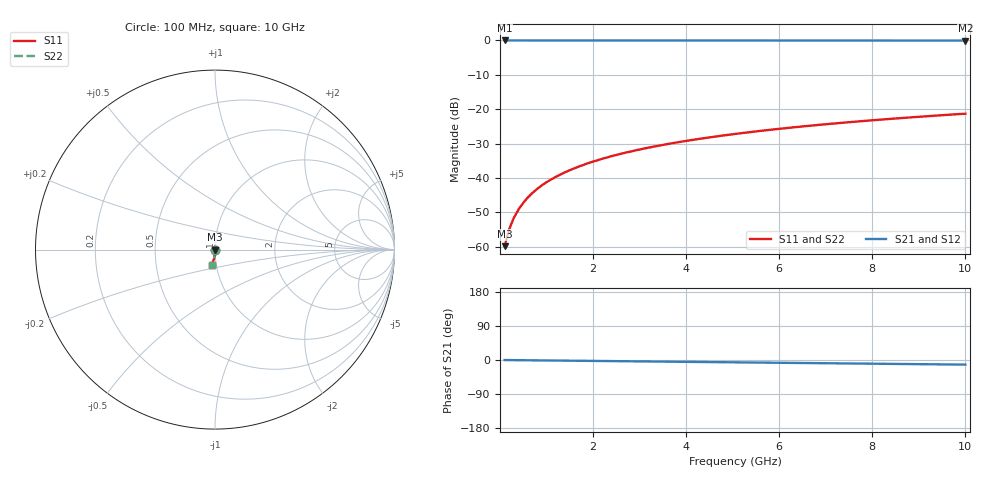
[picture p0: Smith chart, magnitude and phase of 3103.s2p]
# Hz S RI R 50.00
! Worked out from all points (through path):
!   100 points, 100 MHz to 10 GHz, reference 50 ohm
!   highest |S21| = 0.00 dB at 100 MHz (marker M1); lowest = 0.0 dB at 10 GHz (marker M2)
!   group delay of S21, straight-line fit = 3.39 ps
!   lowest |S11| = -59.8 dB at 100 MHz (marker M3), VSWR 1.00, Z = 50.1 - j0.0868 ohm
!   |S11| at or under -10 dB: start of sweep to end of sweep
!   |S22| runs from -59.8 to -21.3 dB; largest |S21 - S12| = 0
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1e8  0.000542 -0.000867  0.9994 -0.00212  0.9994 -0.00212  0.000542 -0.000867
2e8  0.000539 -0.00173  0.9994 -0.00425  0.9994 -0.00425  0.000539 -0.00173
3e8  0.000531 -0.0026  0.9994 -0.00637  0.9994 -0.00637  0.000531 -0.0026
4e8  0.000519 -0.00347  0.9994 -0.00849  0.9994 -0.00849  0.000519 -0.00347
5e8  0.000503 -0.00434  0.9994 -0.0106  0.9994 -0.0106  0.000503 -0.00434
6e8  0.000483 -0.0052  0.9993 -0.0127  0.9993 -0.0127  0.000483 -0.0052
7e8  0.000459 -0.00607  0.9993 -0.0149  0.9993 -0.0149  0.000459 -0.00607
8e8  0.000431 -0.00694  0.9993 -0.017  0.9993 -0.017  0.000431 -0.00694
9e8  0.0004 -0.0078  0.9992 -0.0191  0.9992 -0.0191  0.0004 -0.0078
1.1e9  0.000326 -0.00954  0.9991 -0.0234  0.9991 -0.0234  0.000326 -0.00954
1.4e9  0.000187 -0.0121  0.9989 -0.0297  0.9989 -0.0297  0.000187 -0.0121
1.8e9  -5.05e-05 -0.0156  0.9985 -0.0382  0.9985 -0.0382  -5.05e-05 -0.0156
2.1e9  -0.000267 -0.0182  0.9982 -0.0446  0.9982 -0.0446  -0.000267 -0.0182
2.5e9  -0.000608 -0.0217  0.9977 -0.0531  0.9977 -0.0531  -0.000608 -0.0217
2.9e9  -0.00101 -0.0251  0.9972 -0.0615  0.9972 -0.0615  -0.00101 -0.0251
3.4e9  -0.00159 -0.0294  0.9963 -0.0721  0.9963 -0.0721  -0.00159 -0.0294
4.2e9  -0.00271 -0.0363  0.9947 -0.089  0.9947 -0.089  -0.00271 -0.0363
5.1e9  -0.00425 -0.0439  0.9925 -0.108  0.9925 -0.108  -0.00425 -0.0439
5.9e9  -0.00587 -0.0507  0.9902 -0.1249  0.9902 -0.1249  -0.00587 -0.0507
6.7e9  -0.00772 -0.0574  0.9875 -0.1416  0.9875 -0.1416  -0.00772 -0.0574
8.4e9  -0.0124 -0.0715  0.9808 -0.1771  0.9808 -0.1771  -0.0124 -0.0715
1e10  -0.0177 -0.0843  0.9731 -0.2101  0.9731 -0.2101  -0.0177 -0.0843
